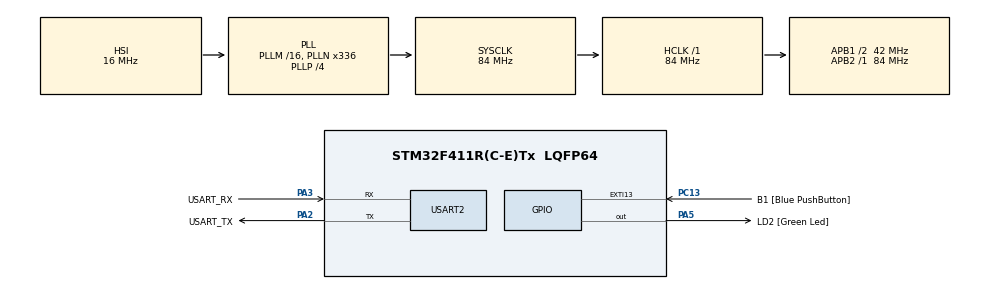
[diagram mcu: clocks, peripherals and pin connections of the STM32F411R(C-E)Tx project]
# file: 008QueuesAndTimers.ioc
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Mcu.Family=STM32F4
Mcu.Name=STM32F411R(C-E)Tx
Mcu.Package=LQFP64
NVIC.PriorityGroup=NVIC_PRIORITYGROUP_4
NVIC.TIM5_IRQn=true\:15\:0\:false\:false\:true\:false\:true\:true
NVIC.TimeBase=TIM5_IRQn
NVIC.TimeBaseIP=TIM5
NVIC.USART2_IRQn=true\:6\:0\:true\:false\:true\:true\:true\:true
PA13.GPIO_Label=TMS
PA13.Mode=Serial_Wire
PA13.Signal=SYS_JTMS-SWDIO
PA14.GPIO_Label=TCK
PA14.Mode=Serial_Wire
PA14.Signal=SYS_JTCK-SWCLK
PA2.GPIO_Label=USART_TX
PA2.Mode=Asynchronous
PA2.Signal=USART2_TX
PA3.GPIO_Label=USART_RX
PA3.Mode=Asynchronous
PA3.Signal=USART2_RX
PA5.GPIO_Label=LD2 [Green Led]
PA5.Signal=GPIO_Output
PB3.GPIO_Label=SWO
PB3.Signal=SYS_JTDO-SWO
PC13-ANTI_TAMP.GPIO_Label=B1 [Blue PushButton]
PC13-ANTI_TAMP.GPIO_ModeDefaultEXTI=GPIO_MODE_IT_FALLING
PC13-ANTI_TAMP.Signal=GPXTI13
PC14-OSC32_IN.Mode=LSE-External-Oscillator
PC14-OSC32_IN.Signal=RCC_OSC32_IN
PC15-OSC32_OUT.Mode=LSE-External-Oscillator
PC15-OSC32_OUT.Signal=RCC_OSC32_OUT
PH0\ -\ OSC_IN.Mode=HSE-External-Clock-Source
PH0\ -\ OSC_IN.Signal=RCC_OSC_IN
PH1\ -\ OSC_OUT.Mode=HSE-External-Clock-Source
PH1\ -\ OSC_OUT.Signal=RCC_OSC_OUT
ProjectManager.HeapSize=0x200
ProjectManager.StackSize=0x400
ProjectManager.TargetToolchain=STM32CubeIDE
RCC.48MHZClocksFreq_Value=84000000
RCC.AHBFreq_Value=84000000
RCC.APB1CLKDivider=RCC_HCLK_DIV2
RCC.APB1Freq_Value=42000000
RCC.APB1TimFreq_Value=84000000
RCC.APB2Freq_Value=84000000
RCC.APB2TimFreq_Value=84000000
RCC.CortexFreq_Value=84000000
RCC.FLatency-AdvancedSettings=FLASH_LATENCY_2
RCC.HCLKFreq_Value=84000000
RCC.HSE_VALUE=8000000
RCC.HSI_VALUE=16000000
RCC.PLLN=336
RCC.PLLP=RCC_PLLP_DIV4
RCC.SYSCLKFreq_VALUE=84000000
RCC.SYSCLKSource=RCC_SYSCLKSOURCE_PLLCLK
RCC.VCOOutputFreq_Value=336000000
RTC.HourFormat=RTC_HOURFORMAT_12
USART2.VirtualMode=VM_ASYNC
VP_RTC_VS_RTC_Activate.Mode=RTC_Enabled
VP_SYS_VS_tim5.Mode=TIM5
board=NUCLEO-F411RE

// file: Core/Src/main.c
/* USER CODE BEGIN Header */
/**
  ******************************************************************************
  * @file           : main.c
  * @brief          : Main program body
  ******************************************************************************
  * @attention
  *
  * Copyright (c) 2024 STMicroelectronics.
  * All rights reserved.
  *
  * This software is licensed under terms that can be found in the LICENSE file
  * in the root directory of this software component.
  * If no LICENSE file comes with this software, it is provided AS-IS.
  *
  ******************************************************************************
  */
/* USER CODE END Header */
#include "main.h"

RTC_HandleTypeDef hrtc;

UART_HandleTypeDef huart2;

/* USER CODE BEGIN PV */

xTaskHandle handle_menu_task;
xTaskHandle handle_cmd_task;
xTaskHandle handle_print_task;
xTaskHandle handle_led_task;
xTaskHandle handle_rtc_task;

QueueHandle_t q_data;
QueueHandle_t q_print;

volatile uint8_t user_data;

state_t curr_state = sMainMenu;

TimerHandle_t handle_led_timer;
TimerHandle_t rtc_timer;
/* USER CODE END PV */

void SystemClock_Config(void);
static void MX_GPIO_Init(void);
static void MX_USART2_UART_Init(void);
static void MX_RTC_Init(void);
/* USER CODE BEGIN PFP */

void led_effect_callback(TimerHandle_t xTimer);
void rtc_report_callback( TimerHandle_t xTimer );

/* USER CODE END PFP */

int main(void)
{
  /* USER CODE BEGIN 1 */
	BaseType_t status;
  /* USER CODE END 1 */

  /* MCU Configuration--------------------------------------------------------*/

  /* Reset of all peripherals, Initializes the Flash interface and the Systick. */
  HAL_Init();

  /* Configure the system clock */
  SystemClock_Config();

  /* Initialize all configured peripherals */
  MX_GPIO_Init();
  MX_USART2_UART_Init();
  MX_RTC_Init();
  /* USER CODE BEGIN 2 */

  status = xTaskCreate(menu_task, "menu_task", 250,NULL, 2, &handle_menu_task);
  configASSERT(status == pdPASS);

  status = xTaskCreate(cmd_task, "cmd_task", 250,NULL, 2, &handle_cmd_task);
  configASSERT(status == pdPASS);

  status = xTaskCreate(print_task, "print_task", 250,NULL, 2, &handle_print_task);
  configASSERT(status == pdPASS);

  status = xTaskCreate(led_task, "led_task", 250,NULL, 2, &handle_led_task);
  configASSERT(status == pdPASS);

  status = xTaskCreate(rtc_task, "rtc_task", 250,NULL, 2, &handle_rtc_task);
  configASSERT(status == pdPASS);

  q_data = xQueueCreate(10,sizeof(char));
  configASSERT(q_data != NULL);

  q_print = xQueueCreate(10,sizeof(size_t));
  configASSERT(q_print != NULL);

  handle_led_timer = xTimerCreate("led_timer",pdMS_TO_TICKS(500),pdTRUE,NULL,led_effect_callback );

  rtc_timer = xTimerCreate ("rtc_report_timer",pdMS_TO_TICKS(1000),pdTRUE,NULL,rtc_report_callback);

  HAL_UART_Receive_IT(&huart2, &user_data,1);

  vTaskStartScheduler();
  /* USER CODE END 2 */

  /* Infinite loop */
  while (1)
  {

  }
}

void SystemClock_Config(void)
{
  RCC_OscInitTypeDef RCC_OscInitStruct = {0};
  RCC_ClkInitTypeDef RCC_ClkInitStruct = {0};

  /** Configure the main internal regulator output voltage
  */
  __HAL_RCC_PWR_CLK_ENABLE();
  __HAL_PWR_VOLTAGESCALING_CONFIG(PWR_REGULATOR_VOLTAGE_SCALE1);

  /** Initializes the RCC Oscillators according to the specified parameters
  * in the RCC_OscInitTypeDef structure.
  */
  RCC_OscInitStruct.OscillatorType = RCC_OSCILLATORTYPE_HSI|RCC_OSCILLATORTYPE_LSI;
  RCC_OscInitStruct.HSIState = RCC_HSI_ON;
  RCC_OscInitStruct.HSICalibrationValue = RCC_HSICALIBRATION_DEFAULT;
  RCC_OscInitStruct.LSIState = RCC_LSI_ON;
  RCC_OscInitStruct.PLL.PLLState = RCC_PLL_ON;
  RCC_OscInitStruct.PLL.PLLSource = RCC_PLLSOURCE_HSI;
  RCC_OscInitStruct.PLL.PLLM = 16;
  RCC_OscInitStruct.PLL.PLLN = 336;
  RCC_OscInitStruct.PLL.PLLP = RCC_PLLP_DIV4;
  RCC_OscInitStruct.PLL.PLLQ = 4;
  if (HAL_RCC_OscConfig(&RCC_OscInitStruct) != HAL_OK)
  {
    Error_Handler();
  }

  /** Initializes the CPU, AHB and APB buses clocks
  */
  RCC_ClkInitStruct.ClockType = RCC_CLOCKTYPE_HCLK|RCC_CLOCKTYPE_SYSCLK
                              |RCC_CLOCKTYPE_PCLK1|RCC_CLOCKTYPE_PCLK2;
  RCC_ClkInitStruct.SYSCLKSource = RCC_SYSCLKSOURCE_PLLCLK;
  RCC_ClkInitStruct.AHBCLKDivider = RCC_SYSCLK_DIV1;
  RCC_ClkInitStruct.APB1CLKDivider = RCC_HCLK_DIV2;
  RCC_ClkInitStruct.APB2CLKDivider = RCC_HCLK_DIV1;

  if (HAL_RCC_ClockConfig(&RCC_ClkInitStruct, FLASH_LATENCY_2) != HAL_OK)
  {
    Error_Handler();
  }
}

static void MX_RTC_Init(void)
{

  /** Initialize RTC Only
  */
  hrtc.Instance = RTC;
  hrtc.Init.HourFormat = RTC_HOURFORMAT_12;
  hrtc.Init.AsynchPrediv = 127;
  hrtc.Init.SynchPrediv = 255;
  hrtc.Init.OutPut = RTC_OUTPUT_DISABLE;
  hrtc.Init.OutPutPolarity = RTC_OUTPUT_POLARITY_HIGH;
  hrtc.Init.OutPutType = RTC_OUTPUT_TYPE_OPENDRAIN;
  if (HAL_RTC_Init(&hrtc) != HAL_OK)
  {
    Error_Handler();
  }

}

static void MX_USART2_UART_Init(void)
{

  huart2.Instance = USART2;
  huart2.Init.BaudRate = 115200;
  huart2.Init.WordLength = UART_WORDLENGTH_8B;
  huart2.Init.StopBits = UART_STOPBITS_1;
  huart2.Init.Parity = UART_PARITY_NONE;
  huart2.Init.Mode = UART_MODE_TX_RX;
  huart2.Init.HwFlowCtl = UART_HWCONTROL_NONE;
  huart2.Init.OverSampling = UART_OVERSAMPLING_16;
  if (HAL_UART_Init(&huart2) != HAL_OK)
  {
    Error_Handler();
  }

}

static void MX_GPIO_Init(void)
{
  GPIO_InitTypeDef GPIO_InitStruct = {0};

  /* GPIO Ports Clock Enable */
  __HAL_RCC_GPIOC_CLK_ENABLE();
  __HAL_RCC_GPIOH_CLK_ENABLE();
  __HAL_RCC_GPIOA_CLK_ENABLE();
  __HAL_RCC_GPIOB_CLK_ENABLE();

  /*Configure GPIO pin Output Level */
  HAL_GPIO_WritePin(LD2_GPIO_Port, LD2_Pin, GPIO_PIN_RESET);

  /*Configure GPIO pin : B1_Pin */
  GPIO_InitStruct.Pin = B1_Pin;
  GPIO_InitStruct.Mode = GPIO_MODE_IT_FALLING;
  GPIO_InitStruct.Pull = GPIO_NOPULL;
  HAL_GPIO_Init(B1_GPIO_Port, &GPIO_InitStruct);

  /*Configure GPIO pin : LD2_Pin */
  GPIO_InitStruct.Pin = LD2_Pin;
  GPIO_InitStruct.Mode = GPIO_MODE_OUTPUT_PP;
  GPIO_InitStruct.Pull = GPIO_NOPULL;
  GPIO_InitStruct.Speed = GPIO_SPEED_FREQ_LOW;
  HAL_GPIO_Init(LD2_GPIO_Port, &GPIO_InitStruct);

}

/* USER CODE BEGIN 4 */

void HAL_UART_RxCpltCallback(UART_HandleTypeDef *huart)
{
	uint8_t dummy;
	for(uint32_t i = 0 ; i < 4000 ; i++);
	if(!xQueueIsQueueFullFromISR(q_data))
	{
		xQueueSendFromISR(q_data,(void *)&user_data,NULL);
	}
	else
	{
		if(user_data == '\n')
		{
			xQueueReceiveFromISR(q_data,(void *)&dummy,NULL);
			xQueueSendFromISR(q_data,(void *)&user_data,NULL);
		}
	}

	if(user_data == '\n')
	{
		xTaskNotifyFromISR(handle_cmd_task,0,eNoAction,NULL);
	}
	HAL_UART_Receive_IT(&huart2, &user_data,1);
}

void led_effect_callback(TimerHandle_t xTimer)
{
	LED_effect1();
}

void rtc_report_callback( TimerHandle_t xTimer )
{
	 show_time_date_itm();

}
/* USER CODE END 4 */

void HAL_TIM_PeriodElapsedCallback(TIM_HandleTypeDef *htim)
{
  if (htim->Instance == TIM5) {
    HAL_IncTick();
  }
}

void Error_Handler(void)
{
  __disable_irq();
  while (1)
  {
  }
}
